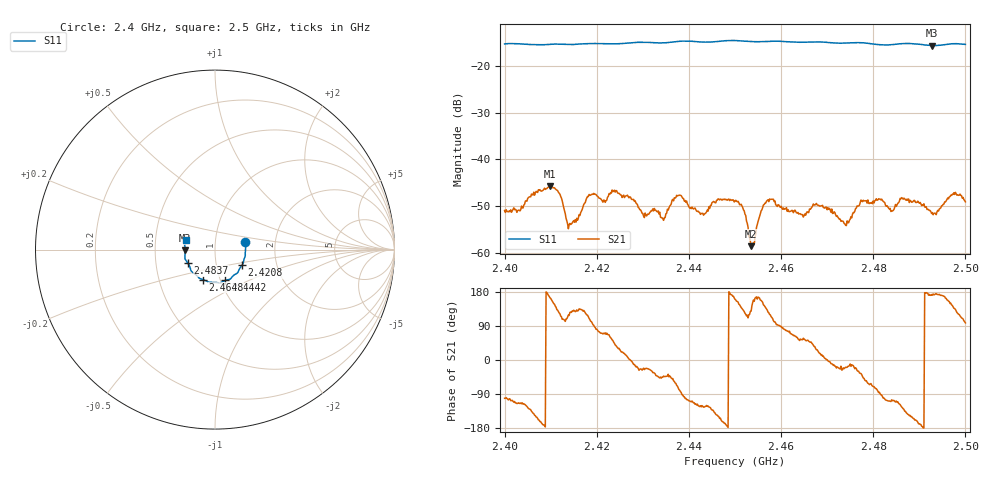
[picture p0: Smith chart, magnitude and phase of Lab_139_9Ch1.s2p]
# Hz S RI R 50
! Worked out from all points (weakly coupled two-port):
!   601 points, 2.4 GHz to 2.5 GHz, reference 50 ohm
!   highest |S21| = -45.80 dB at 2.4098 GHz (marker M1); lowest = -58.6 dB at 2.4535 GHz (marker M2)
!   lowest |S11| = -15.6 dB at 2.4928 GHz (marker M3), VSWR 1.40, Z = 35.8 - j0.354 ohm
!   |S11| at or under -10 dB: start of sweep to end of sweep
!   S12 and S22 are empty: the file has one direction only
!   S11 on the Smith chart (normalised r, x): 2.4 GHz: 1.40, +0.12; 2.4208 GHz: 1.33, -0.24; 2.4442 GHz: 1.05, -0.37; 2.4648 GHz: 0.83, -0.29; 2.4837 GHz: 0.73, -0.11; 2.5 GHz: 0.72, +0.08
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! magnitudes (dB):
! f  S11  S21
! 2.4 GHz  -15.3  -51.0
! 2.4098 GHz  -15.3  -45.8
! 2.414 GHz  -15.4  -54.1
! 2.4167 GHz  -15.2  -51.1
! 2.4208 GHz  -15.2  -48.4
! 2.4238 GHz  -15.2  -46.6
! 2.4333 GHz  -15.0  -51.1
! 2.4378 GHz  -14.7  -47.7
! 2.4442 GHz  -14.9  -51.1
! 2.45 GHz  -14.5  -48.9
! 2.4518 GHz  -14.6  -50.8
! 2.4535 GHz  -14.7  -58.6
! 2.4573 GHz  -14.7  -49.1
! 2.4648 GHz  -14.9  -52.4
! 2.4667 GHz  -14.8  -50.3
! 2.4742 GHz  -15.1  -54.2
! 2.4778 GHz  -15.0  -48.8
! 2.4833 GHz  -15.5  -50.5
! 2.4837 GHz  -15.4  -50.5
! 2.4863 GHz  -15.2  -48.4
! 2.4928 GHz  -15.6  -51.4
! 2.5 GHz  -15.3  -49.1
